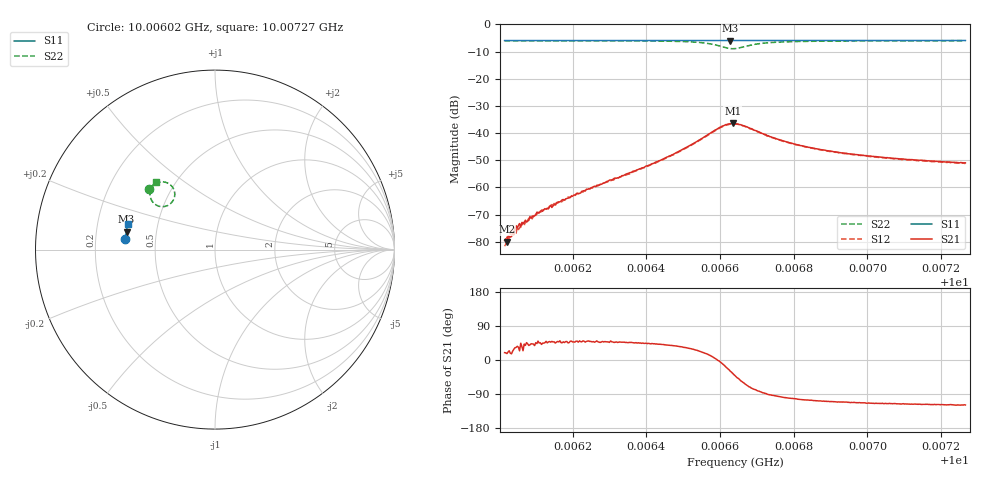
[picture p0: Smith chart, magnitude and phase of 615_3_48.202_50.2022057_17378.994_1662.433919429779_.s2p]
#  HZ  S  RI  R  50.00
! Rohde & Schwarz Vector Network Analyzer
! Rohde-Schwarz,ZNB20-2Port,1311601062101988,3.16
! Created: UTC 3/20/2024, 12:03:41 PM
! freq[Hz]  re:S11  im:S11  re:S21  im:S21  re:S12  im:S12  re:S22  im:S22
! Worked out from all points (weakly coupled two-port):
!   401 points, 10.00602 GHz to 10.00727 GHz, reference 50 ohm
!   highest |S21| = -36.45 dB at 10.00663 GHz (marker M1); lowest = -80.0 dB at 10.00602 GHz (marker M2)
!   lowest |S11| = -6.0 dB at 10.00663 GHz (marker M3), VSWR 3.02, Z = 16.7 + j4.49 ohm
!   |S11| at or under -10 dB: nowhere
!   |S22| runs from -9.0 to -6.0 dB; largest |S21 - S12| = 0.001
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1.0006016e10  -0.4992 0.0615  9.93e-05 3.5e-05  6.87e-05 4.67e-05  -0.3673 0.3371
1.0006022e10  -0.4993 0.062  9.61e-05 2.93e-05  0.000107 6.05e-05  -0.367 0.3374
1.0006028e10  -0.4991 0.0623  0.000115 5.21e-05  9.13e-05 7.15e-05  -0.3665 0.3379
1.0006037e10  -0.4991 0.0629  0.000134 5.75e-05  0.000123 0.0001  -0.366 0.3384
1.000605e10  -0.4991 0.0637  0.000146 0.000106  0.000136 0.000132  -0.3652 0.3394
1.0006109e10  -0.4986 0.0676  0.00024 0.00024  0.000238 0.000256  -0.3615 0.3434
1.0006144e10  -0.4985 0.0698  0.00028 0.000323  0.000312 0.000369  -0.3593 0.3458
1.0006225e10  -0.4978 0.0753  0.000568 0.000632  0.000512 0.000654  -0.353 0.3519
1.0006434e10  -0.4958 0.089  0.00231 0.00205  0.00217 0.00214  -0.3243 0.3714
1.0006503e10  -0.495 0.0934  0.00436 0.00283  0.00408 0.003  -0.3004 0.3773
1.0006563e10  -0.4939 0.0974  0.00855 0.00257  0.00819 0.00297  -0.2587 0.3682
1.0006606e10  -0.4928 0.0997  0.0132 -0.00226  0.013 -0.00158  -0.2245 0.3145
1.0006628e10  -0.4924 0.1005  0.0129 -0.00738  0.0131 -0.00643  -0.2363 0.2691
1.0006635e10  -0.4925 0.1008  0.0122 -0.00875  0.0125 -0.00793  -0.2456 0.258
1.0006641e10  -0.4926 0.1012  0.0112 -0.00985  0.0116 -0.00903  -0.2568 0.2493
1.0006666e10  -0.4927 0.1024  0.00654 -0.0119  0.00712 -0.0114  -0.3059 0.2404
1.000671e10  -0.4927 0.1052  0.00109 -0.0102  0.00153 -0.00988  -0.3515 0.2712
1.0006769e10  -0.4923 0.1093  -0.00102 -0.00719  -0.000639 -0.00713  -0.362 0.3068
1.000685e10  -0.4913 0.1146  -0.00151 -0.00511  -0.00126 -0.0051  -0.3585 0.3315
1.0006932e10  -0.4903 0.1198  -0.00154 -0.00402  -0.00133 -0.00405  -0.3526 0.3454
1.000706e10  -0.4886 0.1281  -0.00145 -0.00319  -0.00132 -0.00318  -0.3439 0.3592
1.0007266e10  -0.4854 0.1412  -0.00136 -0.00249  -0.0012 -0.00246  -0.3315 0.3742
